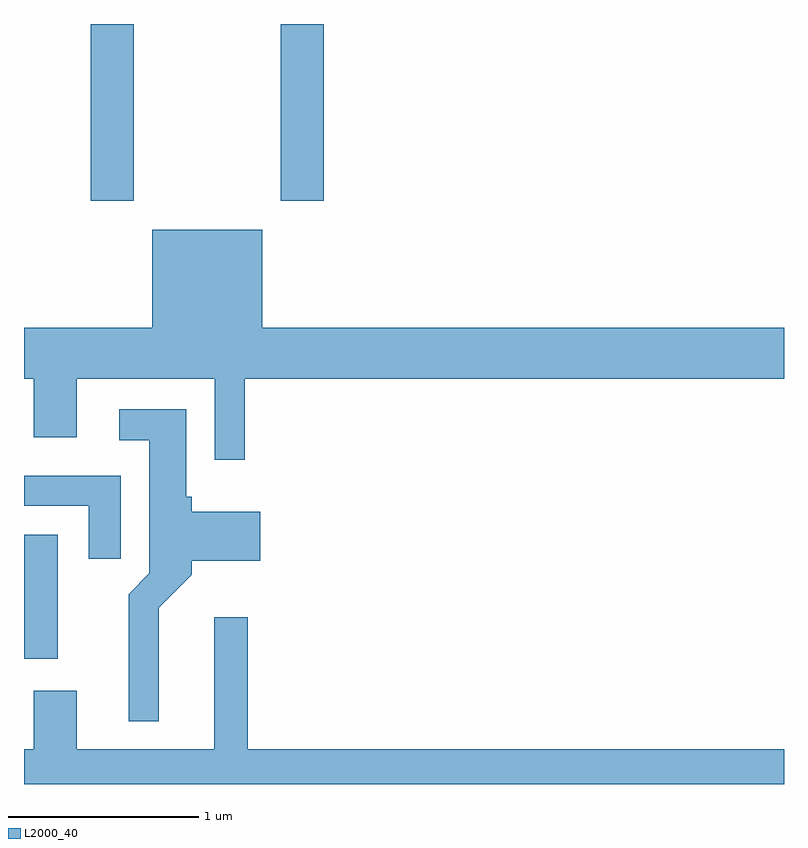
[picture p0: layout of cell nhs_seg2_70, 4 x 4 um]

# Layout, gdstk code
import gdstk
lib = gdstk.Library(unit=1e-6, precision=1e-09)
def R(c, l, rs):  # rectangles x0, y0, x1, y1
    for r in rs: c.add(gdstk.rectangle(r[:2], r[2:], *l))
def P(c, l, *ps):  # polygons
    for p in ps: c.add(gdstk.Polygon(p, *l))
L2000_40 = (2000, 40)

nhs_seg2_70 = lib.new_cell('nhs_seg2_70')
R(nhs_seg2_70, L2000_40, [(187.611,982.461,187.789,983.114), (187.961,984.871,188.189,985.802), (188.961,984.871,189.189,985.802)])
P(nhs_seg2_70, L2000_40, [(188.774,983.936),(191.611,983.936),(191.611,984.204),(188.864,984.204),(188.864,984.719),(188.286,984.719),(188.286,984.204),(187.611,984.204),(187.611,983.936),(187.661,983.936),(187.661,983.626),(187.889,983.626),(187.889,983.936),(188.616,983.936),(188.616,983.508),(188.774,983.508)],
  [(188.319,982.729),(188.494,982.904),(188.494,982.976),(188.854,982.976),(188.854,983.234),(188.494,983.234),(188.494,983.314),(188.464,983.314),(188.464,983.774),(188.113,983.774),(188.113,983.611),(188.271,983.611),(188.271,982.912),(188.161,982.802),(188.161,982.133),(188.319,982.133)],
  [(188.119,983.424),(187.611,983.424),(187.611,983.266),(187.951,983.266),(187.951,982.988),(188.119,982.988)],
  [(191.611,981.984),(188.789,981.984),(188.789,982.679),(188.611,982.679),(188.611,981.984),(187.889,981.984),(187.889,982.294),(187.661,982.294),(187.661,981.984),(187.611,981.984),(187.611,981.802),(191.611,981.802)])

lib.write_gds('nhs_seg2_70.gds')
